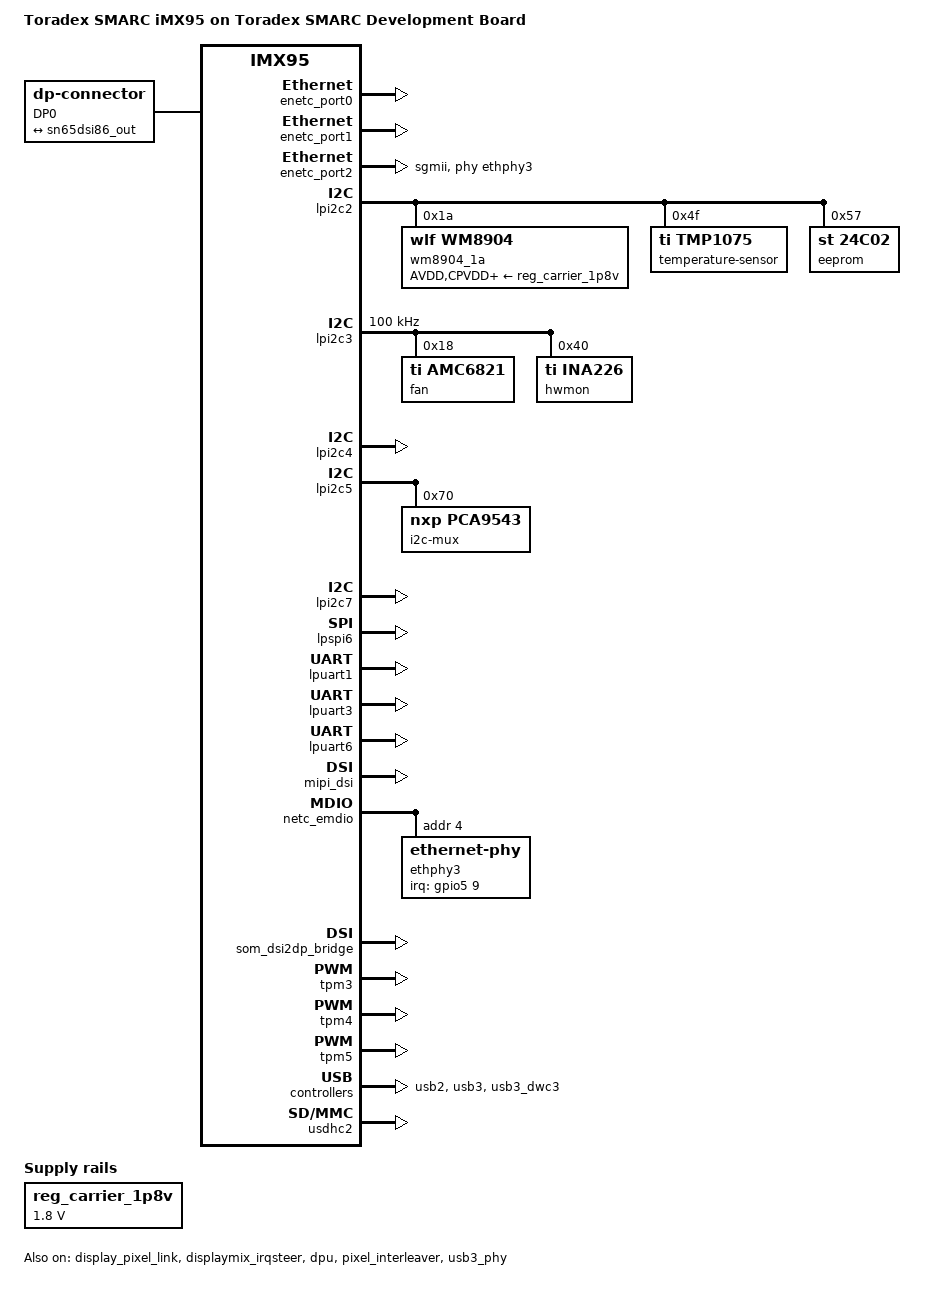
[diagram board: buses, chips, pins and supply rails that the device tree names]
// SPDX-License-Identifier: GPL-2.0-or-later OR MIT
/*
 * Copyright 2025 Toradex
 *
 * https://www.toradex.com/computer-on-modules/smarc-arm-family/nxp-imx95
 */

/dts-v1/;

#include "imx95-toradex-smarc.dtsi"

/ {
	model = "Toradex SMARC iMX95 on Toradex SMARC Development Board";
	compatible = "toradex,smarc-imx95-dev",
		     "toradex,smarc-imx95",
		     "fsl,imx95";

	aliases {
		ethernet2 = &enetc_port2;
	};

	/* SMARC DP0 */
	dp0_connector: dp0-connector {
		compatible = "dp-connector";
		label = "DP0";
		type = "full-size";

		port {
			dp0_connector_in: endpoint {
				remote-endpoint = <&sn65dsi86_out>;
			};
		};
	};

	reg_carrier_1p8v: regulator-carrier-1p8v {
		compatible = "regulator-fixed";
		regulator-max-microvolt = <1800000>;
		regulator-min-microvolt = <1800000>;
		regulator-name = "On-carrier 1V8";
	};
};

&display_pixel_link {
	status = "okay";
};

&displaymix_irqsteer {
	status = "okay";
};

&dpu {
	status = "okay";
};

/* SMARC GBE0 */
&enetc_port0 {
	status = "okay";
};

/* SMARC GBE1 */
&enetc_port1 {
	status = "okay";
};

/* SMARC SERDES_0 - ETH2 */
&enetc_port2 {
	phy-handle = <&ethphy3>;
	phy-mode = "sgmii";
	status = "okay";
};

&gpio2 {
	pinctrl-names = "default";
	pinctrl-0 = <&pinctrl_gpio12>, <&pinctrl_gpio13>;
};

&gpio4 {
	pinctrl-names = "default";
	pinctrl-0 = <&pinctrl_gpio10>, <&pinctrl_gpio11>;
};

&gpio5 {
	pinctrl-names = "default";
	pinctrl-0 = <&pinctrl_gpio2>,
		    <&pinctrl_gpio3>,
		    <&pinctrl_gpio4>,
		    <&pinctrl_gpio6>,
		    <&pinctrl_gpio7>,
		    <&pinctrl_gpio8>,
		    <&pinctrl_gpio9>;
};

/* SMARC I2C_GP */
&lpi2c2 {
	status = "okay";

	wm8904_1a: audio-codec@1a {
		compatible = "wlf,wm8904";
		reg = <0x1a>;
		pinctrl-names = "default";
		pinctrl-0 = <&pinctrl_sai3>, <&pinctrl_sai3_mclk>;
		#sound-dai-cells = <0>;
		clocks = <&scmi_clk IMX95_CLK_SAI3>;
		clock-names = "mclk";
		AVDD-supply = <&reg_carrier_1p8v>;
		CPVDD-supply = <&reg_carrier_1p8v>;
		DBVDD-supply = <&reg_carrier_1p8v>;
		DCVDD-supply = <&reg_carrier_1p8v>;
		MICVDD-supply = <&reg_carrier_1p8v>;
	};

	temperature-sensor@4f {
		compatible = "ti,tmp1075";
		reg = <0x4f>;
	};

	eeprom@57 {
		compatible = "st,24c02";
		reg = <0x57>;
		pagesize = <16>;
	};

};

/* SMARC I2C_PM */
&lpi2c3 {
	clock-frequency = <100000>;
	status = "okay";

	fan: fan@18 {
		compatible = "ti,amc6821";
		reg = <0x18>;
		#cooling-cells = <2>;
	};

	/* Current measurement into module VCC */
	hwmon@40 {
		compatible = "ti,ina226";
		reg = <0x40>;
		shunt-resistor = <5000>;
	};
};

/* SMARC I2C_CAM0 */
&lpi2c4 {
	status = "okay";
};

/* SMARC I2C_LCD */
&lpi2c5 {
	status = "okay";

	i2c-mux@70 {
		compatible = "nxp,pca9543";
		reg = <0x70>;
		i2c-mux-idle-disconnect;
		#address-cells = <1>;
		#size-cells = <0>;

		/* I2C on DSI Connector Pins 4/6 */
		i2c_dsi_0: i2c@0 {
			reg = <0>;
			#address-cells = <1>;
			#size-cells = <0>;
		};

		/* I2C on DSI Connector Pins 52/54 */
		i2c_dsi_1: i2c@1 {
			reg = <1>;
			#address-cells = <1>;
			#size-cells = <0>;
		};
	};
};

/* SMARC I2C_CAM1 */
&lpi2c7 {
	status = "okay";
};

/* SMARC SPI0 */
&lpspi6 {
	status = "okay";
};

/* SMARC SER1, used as the Linux Console */
&lpuart1 {
	status = "okay";
};

/* SMARC SER0, RS485 */
&lpuart2 {
	linux,rs485-enabled-at-boot-time;
	rs485-rts-active-low;
	rs485-rx-during-tx;
	status = "reserved"; //TODO: currently used by the system manager
};

/* SMARC SER3, RS232 */
&lpuart3 {
	status = "okay";
};

/* SMARC SER2 */
&lpuart6 {
	status = "okay";
};

&mipi_dsi {
	status = "okay";
};

/* SMARC MDIO, shared between all ethernet ports */
&netc_emdio {
	status = "okay";

	ethphy3: ethernet-phy@4 {
		reg = <4>;
		pinctrl-names = "default";
		pinctrl-0 = <&pinctrl_gpio7>;
		interrupt-parent = <&gpio5>;
		interrupts = <9 IRQ_TYPE_LEVEL_LOW>;
	};
};

&pixel_interleaver {
	#address-cells = <1>;
	#size-cells = <0>;
	status = "okay";

	channel@0 {
		reg = <0>;
		status = "okay";
	};
};

/* SMARC DP0 */
&som_dsi2dp_bridge {
	status = "okay";
};

&sn65dsi86_out {
	remote-endpoint = <&dp0_connector_in>;
};

/* SMARC LCD0_BKLT_PWM */
&tpm3 {
	status = "okay";
};

/* SMARC LCD1_BKLT_PWM */
&tpm4 {
	status = "okay";
};

/* SMARC GPIO5 as PWM */
&tpm5 {
	status = "okay";
};

/* SMARC USB0 */
&usb2 {
	status = "okay";
};

/* SMARC USB1..4 */
&usb3 {
	status = "okay";
};

&usb3_dwc3 {
	status = "okay";
};

&usb3_phy {
	status = "okay";
};

/* SMARC SDIO */
&usdhc2 {
	status = "okay";
};
